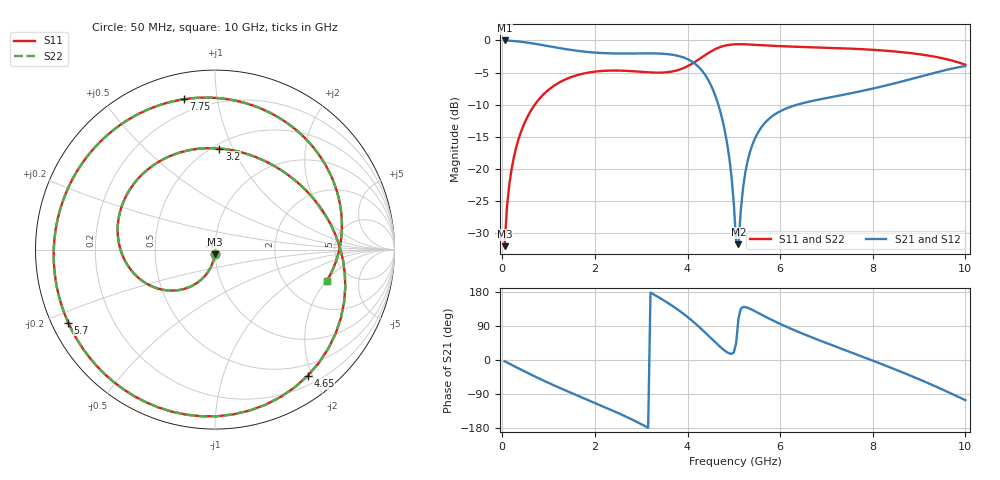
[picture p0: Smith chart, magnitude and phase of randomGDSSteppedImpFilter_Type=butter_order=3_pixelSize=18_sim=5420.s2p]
! freq	dB(S11)	phase(S11)	dB(S12)	phase(S12)
!  dB(S21)	phase(S21)	dB(S22)	phase(S22)
!S-par simulation data
#  GHz  S  DB  R 50
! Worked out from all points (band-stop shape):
!   200 points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, 50 MHz to 10 GHz, reference 50 ohm
!   highest |S21| = -0.01 dB at 50 MHz (marker M1); lowest = -31.7 dB at 5.1 GHz (marker M2)
!   |S21| within 3 dB of the highest: start of sweep to 4.026 GHz
!   lowest |S11| = -32.0 dB at 50 MHz (marker M3), VSWR 1.05, Z = 49.8 - j2.5 ohm
!   |S11| at or under -10 dB: start of sweep to 701.6 MHz
!   |S22| runs from -32.0 to -0.6 dB; largest |S21 - S12| = 0
!   S11 on the Smith chart (normalised r, x): 50 MHz: 1.00, -0.05; 3.2 GHz: 0.54, +0.89; 4.65 GHz: 0.33, -1.93; 5.7 GHz: 0.05, -0.23; 7.75 GHz: 0.13, +0.81; 10 GHz: 3.33, -2.03
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0.05  -32.00 -93.3  -0.01 -3.2  -0.01 -3.2  -32.00 -93.3
0.2  -20.06 -103.2  -0.07 -12.8  -0.07 -12.8  -20.06 -103.2
0.5  -12.53 -121.9  -0.30 -31.3  -0.30 -31.3  -12.53 -121.9
1.1  -7.13 -156.6  -1.03 -66.0  -1.03 -66.0  -7.13 -156.6
1.75  -5.16 169.2  -1.73 -100.3  -1.73 -100.3  -5.16 169.2
2.5  -4.69 129.7  -2.04 -139.9  -2.04 -139.9  -4.69 129.7
3.2  -4.98 87.5  -2.01 177.8  -2.01 177.8  -4.98 87.5
3.4  -5.01 73.5  -2.05 163.8  -2.05 163.8  -5.01 73.6
4.1  -3.61 12.2  -3.31 103.5  -3.31 103.5  -3.61 12.2
4.4  -2.19 -22.3  -5.58 70.1  -5.58 70.1  -2.19 -22.3
4.65  -1.19 -53.7  -9.65 40.8  -9.65 40.8  -1.19 -53.7
4.9  -0.69 -83.7  -18.18 17.5  -18.18 17.5  -0.69 -83.7
5.05  -0.60 -99.9  -31.40 44.6  -31.40 44.6  -0.60 -99.9
5.1  -0.59 -104.9  -31.73 109.7  -31.73 109.7  -0.59 -104.9
5.2  -0.60 -114.5  -22.86 139.8  -22.86 139.8  -0.60 -114.5
5.3  -0.62 -123.4  -18.67 137.8  -18.67 137.8  -0.62 -123.4
5.7  -0.79 -153.5  -12.60 113.1  -12.60 113.1  -0.79 -153.5
6.7  -1.07 150.9  -9.40 59.0  -9.40 59.0  -1.07 150.9
7.75  -1.36 101.7  -7.88 10.0  -7.88 10.0  -1.36 101.7
8.35  -1.64 73.2  -6.89 -18.4  -6.89 -18.4  -1.64 73.3
9.25  -2.42 27.6  -5.20 -64.0  -5.20 -64.0  -2.42 27.7
10  -3.79 -15.9  -3.98 -106.0  -3.98 -106.0  -3.78 -15.8
